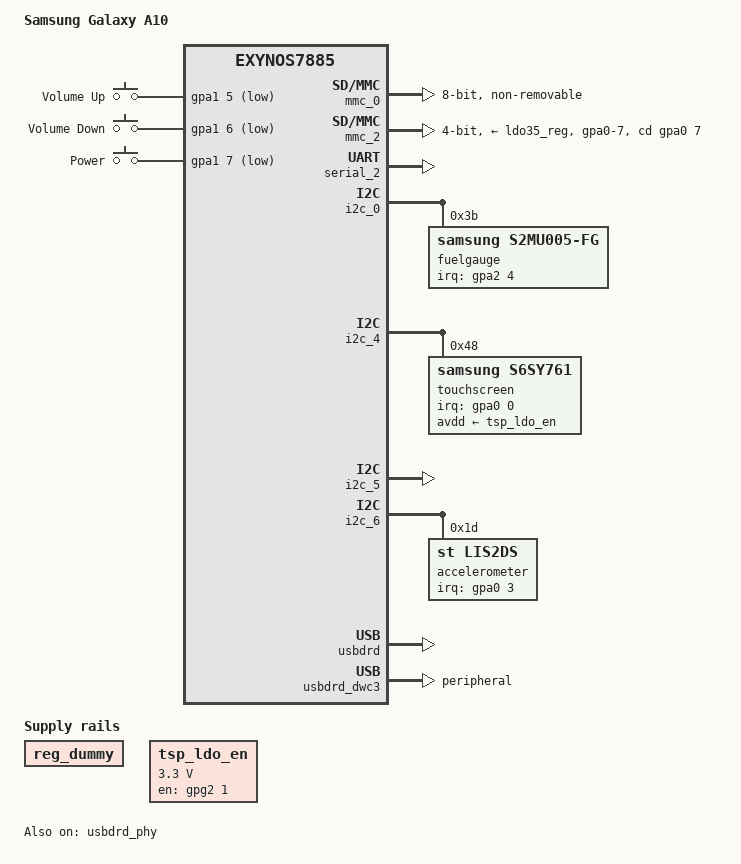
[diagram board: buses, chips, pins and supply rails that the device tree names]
// SPDX-License-Identifier: GPL-2.0
/*
 * Samsung Galaxy A10 (SM-A105F) device tree source
 *
 * Copyright (c) 2018 Samsung Electronics, Inc.
 * Copyright (c) 2025 Anri Dellal
 */

/dts-v1/;
#include "exynos7884b.dtsi"
#include <dt-bindings/gpio/gpio.h>
#include <dt-bindings/input/input.h>
#include <dt-bindings/interrupt-controller/irq.h>

#define SEC_OPMODE_ON 1
#define SEC_OPMODE_LOWPOWER 2
#define SEC_OPMODE_SUSPEND 3

/ {
	model = "Samsung Galaxy A10";
	compatible = "samsung,a10", "samsung,exynos7885";
	chassis-type = "handset";

	chosen {
		#address-cells = <2>;
		#size-cells = <1>;
		ranges;
		bootargs = "pmos.nosplash";

		linux,initrd-start = <0x84000000>;
		linux,initrd-end = <0x848fffff>;
		stdout-path = "fb0";

		fb0: framebuffer@ec000000 {
			compatible = "simple-framebuffer";
			reg = <0x0 0xec000000 (720 * 1520 * 4)>;
			width = <720>;
			height = <1520>;
			stride = <(720 * 4)>;
			format = "a8r8g8b8";
		};
	};

	/* non-upstreamable KVM hack */
	exynos-kvm {
		compatible = "samsung,exynos-kvm";
	};

	reserved-memory {
		#address-cells = <2>;
		#size-cells = <1>;
		ranges;
		sec_debug_magic: memory@80000000 {
			reg = <0x0 0x80000000 0x1000>;
		};

		dram_test: memory@80002000 {
			reg = <0x0 0x80002000 0x2000>;
		};

		tima_mem: memory@B8000000 {
			reg = <0x0 0xB8000000 0x200000>;
		};

		seclog_mem: memory@C0000000 {
			reg = <0x0 0xc0000000 0x80000>;
		};

		memory@e0000000 {
			reg = <0x0 0xe0000000 0xd00000>;
		};

		framebuffer_region@ec000000 {
			reg = <0x0 0xec000000 (720 * 1520 * 4)>;
			no-map;
		};
		
		wifibt_if: memory@e9000000 {
			reg = <0x0 0xe9000000 0x400000>;
		};

		abox_rmem: memory@e9400000 {
			reg = <0x0 0xe9400000 0x400000>;
		};
		
		modem_if: memory@f5400000 {
			reg = <0x0 0xF5400000 0x8800000>;
		};

		cp_ram_logging: memory@fdc00000 {
			reg = <0x0 0xFDC00000 0x2000000>;
		};

		gnss_reserved: memory@ffc00000 {
			reg = <0x0 0xFFC00000 0x400000>;
		};
	};

	memory@80000000 {
		device_type = "memory";
		reg = <0x0 0x80000000 0x3da00000>,
		      <0x0 0xc0000000 0x40000000>;
	};

	// DONE
	gpio-keys {
		compatible = "gpio-keys";
		pinctrl-names = "default";
		pinctrl-0 = <&key_volup &key_voldown &key_power>;

		volup-key {
			label = "Volume Up";
			linux,code = <KEY_VOLUMEUP>;
			gpios = <&gpa1 5 GPIO_ACTIVE_LOW>;
		};

		voldown-key {
			label = "Volume Down";
			linux,code = <KEY_VOLUMEDOWN>;
			gpios = <&gpa1 6 GPIO_ACTIVE_LOW>;
		};

		power-key {
			label = "Power";
			linux,code = <KEY_POWER>;
			gpios = <&gpa1 7 GPIO_ACTIVE_LOW>;
			wakeup-source;
		};
	};

	/* TODO: Remove this once PMIC is implemented  */
	reg_dummy: regulator-0 {
		compatible = "regulator-fixed";
		regulator-name = "dummy_reg";
	};

	// DONE
	tsp_ldo_en: tsp_ldo_en {
		compatible = "regulator-fixed";
		regulator-name = "tsp_ldo_en";
		regulator-min-microvolt = <3300000>;
		regulator-max-microvolt = <3300000>;
		gpio = <&gpg2 1 GPIO_ACTIVE_HIGH>;
		enable-active-high;
//		regulator-boot-on;
	};
};

&mmc_0 {
	status = "okay";
	broken-cd;
	mmc-hs200-1_8v;
	mmc-hs400-1_8v;
	cap-mmc-highspeed;
	non-removable;
	mmc-hs400-enhanced-strobe;
	card-detect-delay = <200>;
	clock-frequency = <800000000>;
	bus-width = <8>;
	samsung,dw-mshc-ciu-div = <3>;
	samsung,dw-mshc-sdr-timing = <0 4>;
	samsung,dw-mshc-ddr-timing = <2 4>;
	samsung,dw-mshc-hs400-timing = <0 2>;

	pinctrl-names = "default",
		"fast-slew-rate-1x",
		"fast-slew-rate-2x",
		"fast-slew-rate-3x",
		"fast-slew-rate-4x";
	pinctrl-0 = <&sd0_clk &sd0_cmd &sd0_rdqs &sd0_bus1 &sd0_bus4 &sd0_bus8>;
	pinctrl-1 = <&sd0_clk_fast_slew_rate_1x>;
	pinctrl-2 = <&sd0_clk_fast_slew_rate_2x>;
	pinctrl-3 = <&sd0_clk_fast_slew_rate_3x>;
	pinctrl-4 = <&sd0_clk_fast_slew_rate_4x>;
};

&mmc_2 {
	status = "okay";
	cap-sd-highspeed;
	cd-inverted;
	card-detect-delay = <200>;
	clock-frequency = <800000000>;
	bus-width = <4>;
	samsung,dw-mshc-ciu-div = <3>;
	samsung,dw-mshc-sdr-timing = <0 2>;
	samsung,dw-mshc-ddr-timing = <1 2>;
	samsung,dw-mshc-sdr50-timing = <2 4>;
	samsung,dw-mshc-sdr104-timing = <0 3>;

	vmmc-supply = <&ldo35_reg>;
	vqmmc-supply = <&ldo2_reg>;

	sd-uhc-50;
	sd-uhc-104;
	disable-wp;

	cd-gpios = <&gpa0 7 GPIO_ACTIVE_LOW>;

	pinctrl-names = "default",
		"fast-slew-rate-1x",
		"fast-slew-rate-2x",
		"fast-slew-rate-3x",
		"fast-slew-rate-4x";
	pinctrl-0 = <&sd2_clk &sd2_cmd &sd2_bus1 &sd2_bus4 &dwmmc2_irq>;
	pinctrl-1 = <&sd2_clk_fast_slew_rate_1x>;
	pinctrl-2 = <&sd2_clk_fast_slew_rate_2x>;
	pinctrl-3 = <&sd2_clk_fast_slew_rate_3x>;
	pinctrl-4 = <&sd2_clk_fast_slew_rate_4x>;
};

&oscclk {
	clock-frequency = <26000000>;
};


&pinctrl_alive {
	key_volup: key-volup-pins {
		samsung,pins = "gpa1-5";
		samsung,pin-function = <EXYNOS_PIN_FUNC_F>;
		samsung,pin-pud = <EXYNOS_PIN_PULL_NONE>;
		samsung,pin-drv = <EXYNOS5420_PIN_DRV_LV1>;
	};

	key_voldown: key-voldown-pins {
		samsung,pins = "gpa1-6";
		samsung,pin-function = <EXYNOS_PIN_FUNC_F>;
		samsung,pin-pud = <EXYNOS_PIN_PULL_NONE>;
		samsung,pin-drv = <EXYNOS5420_PIN_DRV_LV1>;
	};

	key_power: key-power-pins {
		samsung,pins = "gpa1-7";
		samsung,pin-function = <EXYNOS_PIN_FUNC_F>;
		samsung,pin-pud = <EXYNOS_PIN_PULL_NONE>;
		samsung,pin-drv = <EXYNOS5420_PIN_DRV_LV1>;
	};

	accel_irq: accel-irq-pins {
		samsung,pins = "gpa0-3";
		samsung,pin-function = <EXYNOS_PIN_FUNC_F>;
		samsung,pin-pud = <EXYNOS_PIN_PULL_NONE>;
		samsung,pin-drv = <EXYNOS5420_PIN_DRV_LV1>;
	};

	dwmmc2_irq: dwmmc2-irq-pins {
		samsung,pins = "gpa0-7";
		samsung,pin-function = <EXYNOS_PIN_FUNC_F>;
		samsung,pin-pud = <EXYNOS_PIN_PULL_NONE>;
		samsung,pin-drv = <EXYNOS5420_PIN_DRV_LV4>;
	};

	pmic_irq: pmic-irq-pins {
		samsung,pins = "gpa2-0";
		samsung,pin-pud = <EXYNOS_PIN_PULL_UP>;
		samsung,pin-drv = <EXYNOS5420_PIN_DRV_LV4>;
	};

	attn_irq: attn-irq-pins {
		samsung,pins = "gpa0-7";
		samsung,pin-function = <EXYNOS_PIN_FUNC_F>;
		samsung,pin-pud = <EXYNOS_PIN_PULL_NONE>;
		samsung,pin-drv = <EXYNOS5420_PIN_DRV_LV1>;
	};

	fuel_irq: fuel-irq-pins {
		samsung,pins = "gpa2-4";
		samsung,pin-function = <EXYNOS_PIN_FUNC_INPUT>;
		samsung,pin-pud = <EXYNOS_PIN_PULL_UP>;
		samsung,pin-drv = <EXYNOS5420_PIN_DRV_LV1>;
	};
};

&pinctrl_top {
	pm_wrsti: pm-wrsti-pins {
		samsung,pins = "gpg1-1";
		samsung,pin-con-pdn = <EXYNOS_PIN_PDN_PREV>;
	};
};

&serial_2 {
	status = "okay";
};

&i2c_0 {
	status = "okay";
	fuelgauge@3b {
		compatible = "samsung,s2mu005-fg";
		reg = <0x3b>;

		interrupt-parent = <&gpa2>;
		interrupts = <4 IRQ_TYPE_NONE>;

		pinctrl-names = "default";
		pinctrl-0 = <&fuel_irq>;
	};
};

/*&i2c_1 {
	status = "okay";
}
*/

&i2c_4 {
	status = "okay";
	samsung,i2c-sda-delay = <100>;
	samsung,i2c-max-bus-freq = <400000>;
	touchscreen@48 {
		status = "okay";
		//compatible = "sec,sec_ts";
		compatible = "samsung,s6sy761";
		reg = <0x48>;
		interrupt-parent = <&gpa0>;
		interrupts = <0 IRQ_TYPE_NONE>;
		avdd-supply = <&tsp_ldo_en>;
		touchscreen-size-x = <720>;
		touchscreen-size-y = <1520>;
	};
};

&i2c_5 {
	status = "okay";
};

&acpm_ipc {
	mfd@1 {
		compatible = "samsung,s2mpu08";
		reg = <0x1>;

		interrupt-parent = <&gpa2>;
		interrupts = <2 IRQ_TYPE_LEVEL_LOW>;

		pinctrl-names = "default";
		pinctrl-0 = <&pmic_irq &pm_wrsti>;

		s2mpu08,wakeup = "enabled";
		regulators {
			buck1_reg: BUCK1 {
				regulator-name = "vdd_mif";
				regulator-min-microvolt = <500000>;
				regulator-max-microvolt = <1100000>;
				regulator-always-on;
				regulator-ramp-delay = <12000>;
				regulator-initial-mode = <SEC_OPMODE_LOWPOWER>;
			};

			buck2_reg: BUCK2 {
				regulator-name = "vdd_cpucl0";
				regulator-min-microvolt = <500000>;
				regulator-max-microvolt = <1300000>;
				regulator-always-on;
				regulator-ramp-delay = <12000>;
				regulator-initial-mode = <SEC_OPMODE_SUSPEND>;
			};

			buck3_reg: BUCK3 {
				regulator-name = "vdd_cpucl1_2";
				regulator-min-microvolt = <500000>;
				regulator-max-microvolt = <1300000>;
				regulator-always-on;
				regulator-ramp-delay = <12000>;
				regulator-initial-mode = <SEC_OPMODE_SUSPEND>;
			};

			buck4_reg: BUCK4 {
				regulator-name = "vdd_int";
				regulator-min-microvolt = <500000>;
				regulator-max-microvolt = <1200000>;
				regulator-always-on;
				regulator-ramp-delay = <12000>;
				regulator-initial-mode = <SEC_OPMODE_LOWPOWER>;
			};

			buck5_reg: BUCK5 {
				regulator-name = "vdd_g3d";
				regulator-min-microvolt = <500000>;
				regulator-max-microvolt = <1300000>;
				regulator-always-on;
				regulator-ramp-delay = <12000>;
				regulator-initial-mode = <SEC_OPMODE_SUSPEND>;
			};

			buck6_reg: BUCK6 {
				regulator-name = "vdd2_mem";
				regulator-min-microvolt = <500000>;
				regulator-max-microvolt = <1300000>;
				regulator-always-on;
				regulator-ramp-delay = <12000>;
				regulator-initial-mode = <SEC_OPMODE_ON>;
			};

			buck7_reg: BUCK7 {
				regulator-name = "vdd_lldo";
				regulator-min-microvolt = <1200000>;
				regulator-max-microvolt = <1500000>;
				regulator-always-on;
				regulator-ramp-delay = <12000>;
				regulator-initial-mode = <SEC_OPMODE_ON>;
			};

			buck8_reg: BUCK8 {
				regulator-name = "vdd_mldo";
				regulator-min-microvolt = <1800000>;
				regulator-max-microvolt = <2100000>;
				regulator-always-on;
				regulator-ramp-delay = <12000>;
				regulator-initial-mode = <SEC_OPMODE_ON>;
			};

			ldo1_reg: LDO1 {
				regulator-name = "vdd_ldo1";
				regulator-min-microvolt = <700000>;
				regulator-max-microvolt = <1300000>;
				regulator-always-on;
				regulator-ramp-delay = <12000>;
				regulator-initial-mode = <SEC_OPMODE_ON>;
			};

			ldo2_reg: LDO2 {
				regulator-name = "vqmmc";
				regulator-min-microvolt = <1800000>;
				regulator-max-microvolt = <3375000>;
				regulator-ramp-delay = <12000>;
			};

			ldo3_reg: LDO3 {
				regulator-name = "vdd_ldo3";
				regulator-min-microvolt = <800000>;
				regulator-max-microvolt = <1950000>;
				regulator-always-on;
				regulator-ramp-delay = <12000>;
				regulator-initial-mode = <SEC_OPMODE_ON>;
			};

			ldo4_reg: LDO4 {
				regulator-name = "vdd_ldo4";
				regulator-min-microvolt = <500000>;
				regulator-max-microvolt = <1300000>;
				regulator-always-on;
				regulator-ramp-delay = <12000>;
				regulator-initial-mode = <SEC_OPMODE_SUSPEND>;
			};

			ldo5_reg: LDO5 {
				regulator-name = "vdd_ldo5";
				regulator-min-microvolt = <800000>;
				regulator-max-microvolt = <1350000>;
				regulator-always-on;
				regulator-ramp-delay = <12000>;
				regulator-initial-mode = <SEC_OPMODE_SUSPEND>;
			};

			ldo6_reg: LDO6 {
				regulator-name = "vdd_ldo6";
				regulator-min-microvolt = <800000>;
				regulator-max-microvolt = <1350000>;
				regulator-always-on;
				regulator-ramp-delay = <12000>;
				regulator-initial-mode = <SEC_OPMODE_SUSPEND>;
			};

			ldo7_reg: LDO7 {
				regulator-name = "vdd_ldo7";
				regulator-min-microvolt = <800000>;
				regulator-max-microvolt = <1950000>;
				regulator-always-on;
				regulator-ramp-delay = <12000>;
				regulator-initial-mode = <SEC_OPMODE_SUSPEND>;
			};

			ldo8_reg: LDO8 {
				regulator-name = "vdd_ldo8";
				regulator-min-microvolt = <500000>;
				regulator-max-microvolt = <1300000>;
				regulator-always-on;
				regulator-ramp-delay = <12000>;
				regulator-initial-mode = <SEC_OPMODE_SUSPEND>;
			};

			ldo9_reg: LDO9 {
				regulator-name = "vdd_ldo9";
				regulator-min-microvolt = <500000>;
				regulator-max-microvolt = <1300000>;
				regulator-always-on;
				regulator-ramp-delay = <12000>;
				regulator-initial-mode = <SEC_OPMODE_SUSPEND>;
			};

			ldo10_reg: LDO10 {
				regulator-name = "vdd_ldo10";
				regulator-min-microvolt = <500000>;
				regulator-max-microvolt = <1300000>;
				regulator-always-on;
				regulator-ramp-delay = <12000>;
				regulator-initial-mode = <SEC_OPMODE_SUSPEND>;
			};

			ldo11_reg: LDO11 {
				regulator-name = "vdd_ldo11";
				regulator-min-microvolt = <500000>;
				regulator-max-microvolt = <1300000>;
				regulator-always-on;
				regulator-ramp-delay = <12000>;
				regulator-initial-mode = <SEC_OPMODE_SUSPEND>;
			};

			ldo12_reg: LDO12 {
				regulator-name = "vdd_ldo12";
				regulator-min-microvolt = <800000>;
				regulator-max-microvolt = <1350000>;
				regulator-always-on;
				regulator-ramp-delay = <12000>;
				regulator-initial-mode = <SEC_OPMODE_SUSPEND>;
			};

			ldo13_reg: LDO13 {
				regulator-name = "vdd_ldo13";
				regulator-min-microvolt = <800000>;
				regulator-max-microvolt = <1950000>;
				regulator-always-on;
				regulator-ramp-delay = <12000>;
				regulator-initial-mode = <SEC_OPMODE_SUSPEND>;
			};

			ldo14_reg: LDO14 {
				regulator-name = "vdd_ldo14";
				regulator-min-microvolt = <1800000>;
				regulator-max-microvolt = <3375000>;
				regulator-always-on;
				regulator-ramp-delay = <12000>;
				regulator-initial-mode = <SEC_OPMODE_SUSPEND>;
			};

			ldo33_reg: LDO33 {
				regulator-name = "vdd_ldo33";
				regulator-min-microvolt = <800000>;
				regulator-max-microvolt = <1950000>;
				regulator-always-on;
				regulator-ramp-delay = <12000>;
				regulator-initial-mode = <SEC_OPMODE_ON>;
			};

			ldo34_reg: LDO34 {
				regulator-name = "vdd_ldo34";
				regulator-min-microvolt = <1800000>;
				regulator-max-microvolt = <3375000>;
				regulator-always-on;
				regulator-ramp-delay = <12000>;
				regulator-initial-mode = <SEC_OPMODE_ON>;
			};

			ldo35_reg: LDO35 {
				regulator-name = "vmmc";
				regulator-min-microvolt = <1800000>;
				regulator-max-microvolt = <3375000>;
				regulator-ramp-delay = <12000>;
			};

			ldo36_reg: LDO36 {
				regulator-name = "vdd_ldo36";
				regulator-min-microvolt = <800000>;
				regulator-max-microvolt = <1950000>;
				regulator-always-on;
				regulator-ramp-delay = <12000>;
				regulator-initial-mode = <SEC_OPMODE_ON>;
			};

			ldo37_reg: LDO37 {
				regulator-name = "vdd_ldo37";
				regulator-min-microvolt = <1800000>;
				regulator-max-microvolt = <3375000>;
				regulator-always-on;
				regulator-ramp-delay = <12000>;
				regulator-initial-mode = <SEC_OPMODE_ON>;
			};
		};
	};
};

&i2c_6 {
	status = "okay";
	samsung,i2c-sda-delay = <100>;
	samsung,i2c-max-bus-freq = <400000>;

	accelerometer@1d {
		compatible = "st,lis2ds";
		reg = <0x1d>;

		interrupt-parent = <&gpa0>;
		interrupts = <3 IRQ_TYPE_EDGE_RISING>;
		pinctrl-names = "default";
		pinctrl-0 = <&accel_irq>;
	};
};

&usbdrd {
	status = "okay";
	vdd10-supply = <&reg_dummy>;
	vdd33-supply = <&reg_dummy>;
};

&usbdrd_dwc3 {
	dr_mode = "peripheral";
	snps,quirk-frame-length-adjustment = <0x20>;
};

&usbdrd_phy {
	status = "okay";
};
